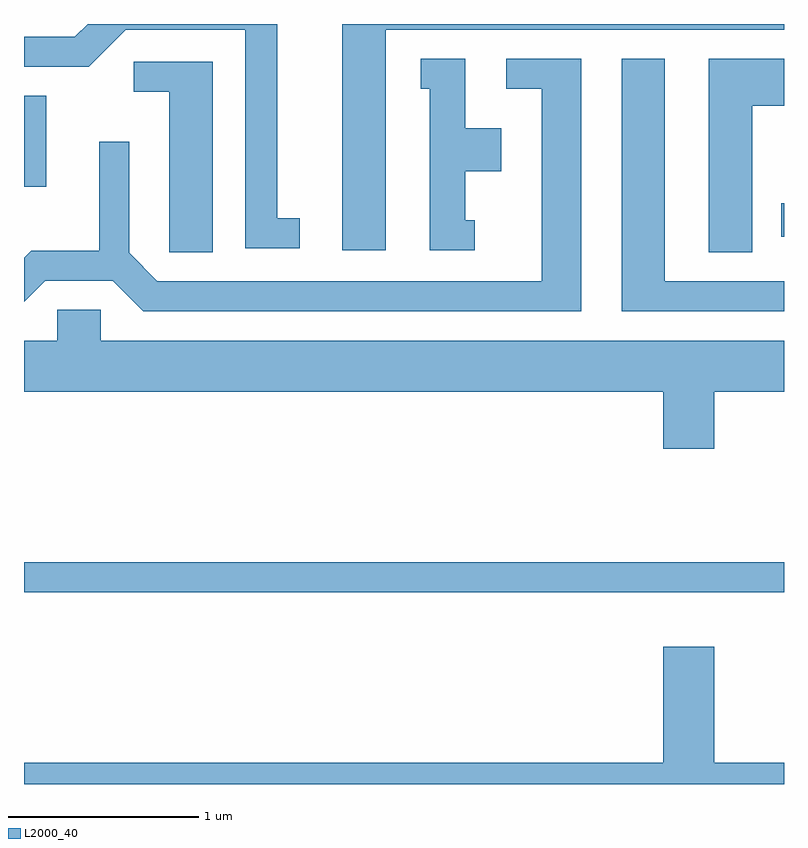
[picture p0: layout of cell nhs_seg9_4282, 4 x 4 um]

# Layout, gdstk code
import gdstk
lib = gdstk.Library(unit=1e-6, precision=1e-09)
def R(c, l, rs):  # rectangles x0, y0, x1, y1
    for r in rs: c.add(gdstk.rectangle(r[:2], r[2:], *l))
def P(c, l, *ps):  # polygons
    for p in ps: c.add(gdstk.Polygon(p, *l))
L2000_40 = (2000, 40)

nhs_seg9_4282 = lib.new_cell('nhs_seg9_4282')
R(nhs_seg9_4282, L2000_40, [(311.611,1977.441,315.611,1977.599), (315.596,1979.311,315.611,1979.489), (311.611,1979.576,311.729,1980.054)])
P(nhs_seg9_4282, L2000_40, [(313.063,1979.409),(312.944,1979.409),(312.944,1980.432),(311.947,1980.432),(311.879,1980.364),(311.611,1980.364),(311.611,1980.206),(311.952,1980.206),(312.147,1980.401),(312.776,1980.401),(312.776,1979.251),(313.063,1979.251)],
  [(313.514,1980.401),(315.611,1980.401),(315.611,1980.432),(313.286,1980.432),(313.286,1979.241),(313.514,1979.241)],
  [(314.544,1980.249),(314.148,1980.249),(314.148,1980.091),(314.336,1980.091),(314.336,1979.079),(312.312,1979.079),(312.164,1979.227),(312.164,1979.813),(312.006,1979.813),(312.006,1979.239),(311.649,1979.239),(311.611,1979.201),(311.611,1978.97),(311.722,1979.081),(312.079,1979.081),(312.239,1978.921),(314.544,1978.921)],
  [(315.611,1979.079),(314.984,1979.079),(314.984,1980.249),(314.756,1980.249),(314.756,1978.921),(315.611,1978.921)],
  [(315.444,1980.001),(315.611,1980.001),(315.611,1980.249),(315.216,1980.249),(315.216,1979.231),(315.444,1979.231)],
  [(313.983,1979.399),(313.934,1979.399),(313.934,1979.656),(314.124,1979.656),(314.124,1979.884),(313.934,1979.884),(313.934,1980.249),(313.698,1980.249),(313.698,1980.091),(313.746,1980.091),(313.746,1979.241),(313.983,1979.241)],
  [(312.604,1980.234),(312.188,1980.234),(312.188,1980.076),(312.376,1980.076),(312.376,1979.231),(312.604,1979.231)],
  [(315.244,1978.496),(315.611,1978.496),(315.611,1978.764),(312.014,1978.764),(312.014,1978.929),(311.786,1978.929),(311.786,1978.764),(311.611,1978.764),(311.611,1978.496),(314.976,1978.496),(314.976,1978.196),(315.244,1978.196)],
  [(315.611,1976.544),(315.244,1976.544),(315.244,1977.154),(314.976,1977.154),(314.976,1976.544),(311.611,1976.544),(311.611,1976.432),(315.611,1976.432)])

lib.write_gds('nhs_seg9_4282.gds')
